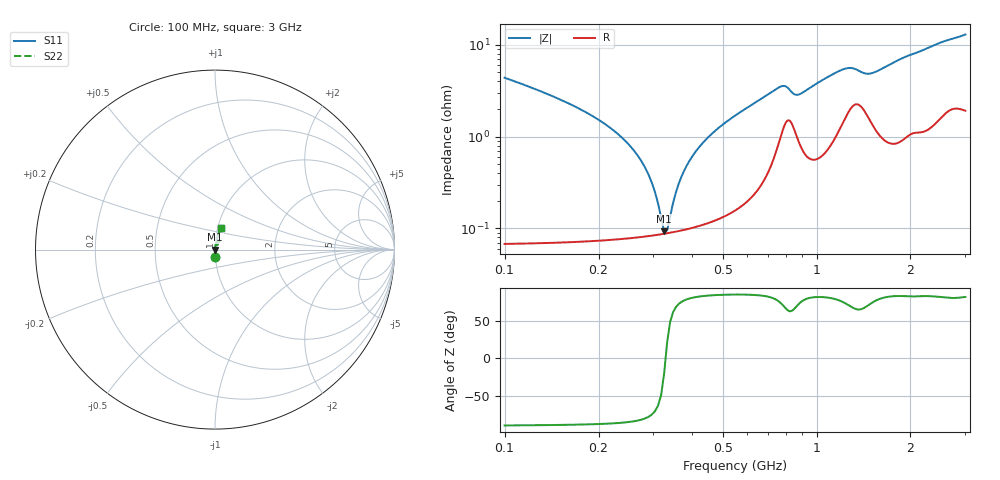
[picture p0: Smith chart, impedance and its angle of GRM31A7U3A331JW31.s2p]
!Murata Part Number: GRM31A7U3A331JW31
!These Parameters are Measured in Series Mode Connection
!Data Generated on Mar 30, 2021
!  o--ll--o
!Port1  Port2
!  o------o
!Operation Temp=25[degC], DC Bias Voltage=0[V]
!Freq. Start=100[MHz] Stop=3[GHz] 401[Steps]
# Hz S RI R 50
!Freq.(Hz) S11(Real) S11(Imag) S21(Real) S21(Imag) S12(Real) S12(Imag) S22(Real) S22(Imag)
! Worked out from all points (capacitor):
!   401 points, 100 MHz to 3 GHz, reference 50 ohm
!   read as one part in series: C = 329 pF near 114.5 MHz
!   lowest |Z| = 92.8 mohm at 324.8 MHz (marker M1)
!   series resonance near 328.2 MHz, so ESL is about 710 pH
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1e8  0.00259 -0.0437  0.9974 0.0437  0.9974 0.0437  0.00259 -0.0437
2.015e8  0.00096 -0.015  0.999 0.015  0.999 0.015  0.00096 -0.015
2.5225e8  0.000844 -0.00789  0.9992 0.00789  0.9992 0.00789  0.000844 -0.00789
2.885e8  0.000838 -0.00384  0.9992 0.00384  0.9992 0.00384  0.000838 -0.00384
3.175e8  0.000864 -0.000985  0.9991 0.000985  0.9991 0.000985  0.000864 -0.000985
3.2475e8  0.000874 -0.00031  0.9991 0.00031  0.9991 0.00031  0.000874 -0.00031
3.32e8  0.000885 0.00035  0.9991 -0.00035  0.9991 -0.00035  0.000885 0.00035
3.3925e8  0.000898 0.000998  0.9991 -0.000998  0.9991 -0.000998  0.000898 0.000998
3.61e8  0.000942 0.00287  0.9991 -0.00287  0.9991 -0.00287  0.000942 0.00287
3.755e8  0.000978 0.00407  0.999 -0.00407  0.999 -0.00407  0.000978 0.00407
4.1175e8  0.00109 0.00694  0.9989 -0.00694  0.9989 -0.00694  0.00109 0.00694
4.8425e8  0.00141 0.0123  0.9986 -0.0123  0.9986 -0.0123  0.00141 0.0123
5.8575e8  0.00222 0.0195  0.9978 -0.0195  0.9978 -0.0195  0.00222 0.0195
7.67e8  0.0109 0.033  0.9891 -0.033  0.9891 -0.033  0.0109 0.033
8.685e8  0.0102 0.0263  0.9898 -0.0263  0.9898 -0.0263  0.0102 0.0263
1.0715e9  0.00858 0.0423  0.9914 -0.0423  0.9914 -0.0423  0.00858 0.0423
1.26e9  0.0203 0.0508  0.9797 -0.0508  0.9797 -0.0508  0.0203 0.0508
1.44125e9  0.0194 0.0435  0.9806 -0.0435  0.9806 -0.0435  0.0194 0.0435
1.55e9  0.0139 0.0484  0.9861 -0.0484  0.9861 -0.0484  0.0139 0.0484
2.03575e9  0.0167 0.0765  0.9833 -0.0765  0.9833 -0.0765  0.0167 0.0765
2.5215e9  0.0267 0.1014  0.9733 -0.1014  0.9733 -0.1014  0.0267 0.1014
3e9  0.0341 0.1215  0.9659 -0.1215  0.9659 -0.1215  0.0341 0.1215
